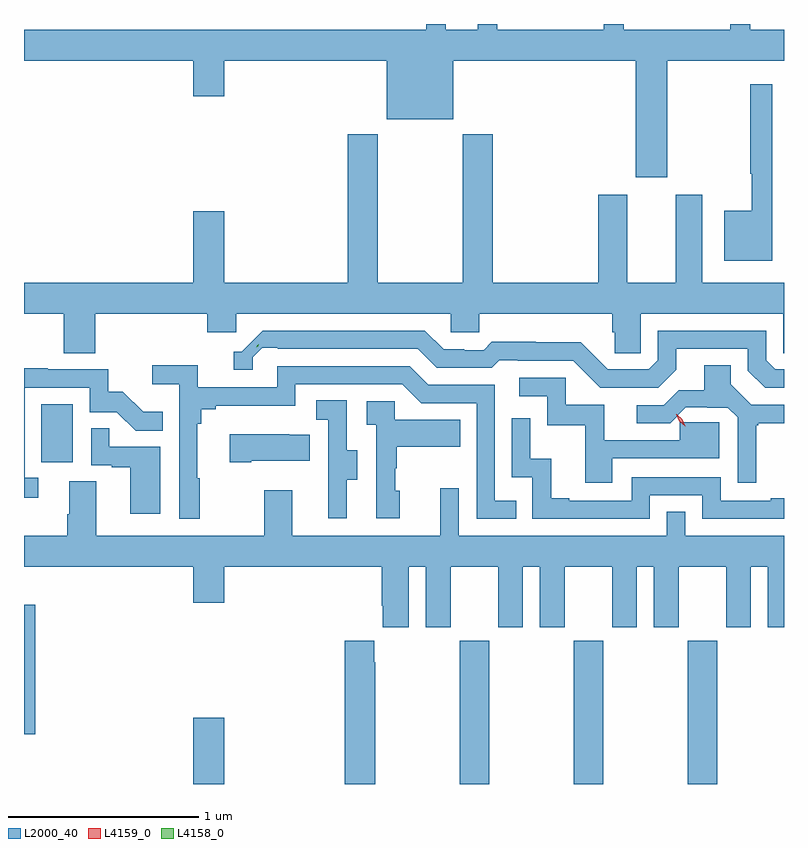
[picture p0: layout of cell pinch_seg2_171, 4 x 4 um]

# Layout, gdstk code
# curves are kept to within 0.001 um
import gdstk
lib = gdstk.Library(unit=1e-6, precision=1e-09)
def R(c, l, rs):  # rectangles x0, y0, x1, y1
    for r in rs: c.add(gdstk.rectangle(r[:2], r[2:], *l))
def A(c, l, x, y, w, h, nx, ny, dx, dy):  # array of equal rectangles
    R(c, l, [(x+i*dx, y+j*dy, x+i*dx+w, y+j*dy+h) for i in range(nx) for j in range(ny)])
def P(c, l, *ps):  # polygons
    for p in ps: c.add(gdstk.Polygon(p, *l))
L2000_40 = (2000, 40)
L4158_0 = (4158, 0)
L4159_0 = (4159, 0)

pinch_seg2_171 = lib.new_cell('pinch_seg2_171')
A(pinch_seg2_171, L2000_40, 1143.433, 642.497, 0.155, 0.755, 3, 1, 0.6, 0)
R(pinch_seg2_171, L2000_40, [(1142.03,642.497,1142.194,642.847), (1141.14,642.76,1141.199,643.441), (1141.232,644.19,1141.396,644.497)])
P(pinch_seg2_171, L2000_40, [(1144.525,646.304),(1145.14,646.304),(1145.14,646.468),(1144.963,646.468),(1144.963,646.497),(1144.857,646.497),(1144.857,646.468),(1144.297,646.468),(1144.297,646.497),(1144.191,646.497),(1144.191,646.468),(1143.631,646.468),(1143.631,646.497),(1143.527,646.497),(1143.527,646.468),(1143.361,646.468),(1143.361,646.497),(1143.257,646.497),(1143.257,646.468),(1141.14,646.468),(1141.14,646.304),(1142.03,646.304),(1142.03,646.116),(1142.194,646.116),(1142.194,646.304),(1143.05,646.304),(1143.05,645.995),(1143.4,645.995),(1143.4,646.304),(1144.361,646.304),(1144.361,645.69),(1144.525,645.69)],
  [(1145.077,646.18),(1144.963,646.18),(1144.963,645.71),(1144.971,645.71),(1144.971,645.514),(1144.826,645.514),(1144.826,645.251),(1145.077,645.251)],
  [(1141.514,644.972),(1142.105,644.972),(1142.105,644.874),(1142.256,644.874),(1142.256,644.972),(1143.387,644.972),(1143.387,644.874),(1143.537,644.874),(1143.537,644.972),(1144.235,644.972),(1144.235,644.874),(1144.249,644.874),(1144.249,644.764),(1144.386,644.764),(1144.386,644.972),(1145.136,644.972),(1145.136,644.764),(1145.14,644.764),(1145.14,645.136),(1144.711,645.136),(1144.711,645.598),(1144.571,645.598),(1144.571,645.136),(1144.315,645.136),(1144.315,645.598),(1144.163,645.598),(1144.163,645.136),(1143.608,645.136),(1143.608,645.916),(1143.448,645.916),(1143.448,645.136),(1143.003,645.136),(1143.003,645.916),(1142.843,645.916),(1142.843,645.136),(1142.194,645.136),(1142.194,645.511),(1142.03,645.511),(1142.03,645.136),(1141.14,645.136),(1141.14,644.972),(1141.349,644.972),(1141.349,644.764),(1141.514,644.764)],
  [(1144.573,644.677),(1144.573,644.787),(1144.95,644.787),(1144.95,644.673),(1145.04,644.583),(1145.14,644.583),(1145.14,644.679),(1145.094,644.679),(1145.046,644.727),(1145.046,644.883),(1144.476,644.883),(1144.476,644.727),(1144.428,644.679),(1144.212,644.679),(1144.07,644.821),(1143.834,644.821),(1143.834,644.824),(1143.601,644.824),(1143.559,644.781),(1143.456,644.781),(1143.456,644.784),(1143.349,644.784),(1143.25,644.883),(1142.397,644.883),(1142.286,644.772),(1142.243,644.772),(1142.243,644.676),(1142.345,644.676),(1142.345,644.743),(1142.395,644.793),(1142.476,644.793),(1142.476,644.787),(1143.213,644.787),(1143.312,644.688),(1143.601,644.688),(1143.64,644.727),(1143.739,644.727),(1143.739,644.724),(1144.032,644.724),(1144.173,644.583),(1144.479,644.583)],
  [(1144.993,644.385),(1145.005,644.385),(1145.005,644.396),(1145.14,644.396),(1145.14,644.493),(1144.968,644.493),(1144.861,644.6),(1144.861,644.702),(1144.721,644.702),(1144.721,644.57),(1144.586,644.57),(1144.506,644.49),(1144.365,644.49),(1144.365,644.397),(1144.54,644.397),(1144.622,644.479),(1144.845,644.478),(1144.896,644.427),(1144.896,644.082),(1144.993,644.082)],
  [(1142.065,644.105),(1142.053,644.105),(1142.053,644.393),(1142.072,644.393),(1142.072,644.47),(1142.149,644.47),(1142.149,644.489),(1142.568,644.489),(1142.568,644.601),(1143.132,644.601),(1143.231,644.502),(1143.522,644.502),(1143.522,643.893),(1143.731,643.893),(1143.731,643.989),(1143.618,643.989),(1143.618,644.598),(1143.268,644.598),(1143.169,644.697),(1142.472,644.697),(1142.472,644.586),(1142.054,644.586),(1142.054,644.702),(1141.815,644.702),(1141.815,644.6),(1141.956,644.6),(1141.956,643.893),(1142.065,643.893)],
  [(1141.216,644.109),(1141.143,644.109),(1141.143,644.583),(1141.485,644.583),(1141.485,644.454),(1141.629,644.454),(1141.727,644.356),(1141.871,644.356),(1141.871,644.455),(1141.767,644.455),(1141.66,644.562),(1141.584,644.562),(1141.584,644.679),(1141.265,644.679),(1141.265,644.684),(1141.14,644.684),(1141.14,644.004),(1141.216,644.004)],
  [(1144.237,644.211),(1144.798,644.211),(1144.798,644.401),(1144.591,644.401),(1144.591,644.307),(1144.195,644.307),(1144.195,644.493),(1143.99,644.493),(1143.99,644.634),(1143.747,644.634),(1143.747,644.538),(1143.894,644.538),(1143.894,644.385),(1144.093,644.385),(1144.093,644.082),(1144.237,644.082)],
  [(1142.839,644.098),(1142.893,644.098),(1142.893,644.253),(1142.838,644.253),(1142.838,644.516),(1142.679,644.516),(1142.679,644.413),(1142.742,644.413),(1142.742,644.109),(1142.741,644.109),(1142.741,643.896),(1142.839,643.896)],
  [(1143.118,644.04),(1143.093,644.04),(1143.093,644.159),(1143.103,644.159),(1143.103,644.273),(1143.437,644.273),(1143.437,644.413),(1143.09,644.413),(1143.09,644.511),(1142.943,644.511),(1142.943,644.387),(1142.994,644.387),(1142.994,643.896),(1143.118,643.896)],
  [(1144.434,644.016),(1144.71,644.016),(1144.71,643.893),(1145.14,643.893),(1145.14,644.002),(1145.069,644.002),(1145.069,643.989),(1144.806,643.989),(1144.806,644.112),(1144.338,644.112),(1144.338,643.989),(1144.009,643.989),(1144.009,644.002),(1143.914,644.002),(1143.914,644.21),(1143.804,644.21),(1143.804,644.422),(1143.708,644.422),(1143.708,644.112),(1143.816,644.112),(1143.816,643.893),(1144.434,643.893)],
  [(1141.858,644.271),(1141.589,644.271),(1141.589,644.369),(1141.494,644.369),(1141.494,644.175),(1141.601,644.175),(1141.601,644.163),(1141.7,644.163),(1141.7,643.92),(1141.858,643.92)],
  [(1142.335,644.198),(1142.645,644.198),(1142.645,644.335),(1142.537,644.335),(1142.537,644.338),(1142.223,644.338),(1142.223,644.191),(1142.335,644.191)],
  [(1143.166,643.64),(1143.254,643.64),(1143.254,643.323),(1143.385,643.323),(1143.385,643.64),(1143.635,643.64),(1143.635,643.323),(1143.766,643.323),(1143.766,643.64),(1143.854,643.64),(1143.854,643.323),(1143.985,643.323),(1143.985,643.64),(1144.235,643.64),(1144.235,643.323),(1144.366,643.323),(1144.366,643.64),(1144.454,643.64),(1144.454,643.323),(1144.585,643.323),(1144.585,643.64),(1144.835,643.64),(1144.835,643.323),(1144.966,643.323),(1144.966,643.64),(1145.054,643.64),(1145.054,643.323),(1145.14,643.323),(1145.14,643.804),(1144.62,643.804),(1144.62,643.931),(1144.524,643.931),(1144.524,643.804),(1143.429,643.804),(1143.429,644.053),(1143.332,644.053),(1143.332,643.804),(1142.551,643.804),(1142.551,644.044),(1142.404,644.044),(1142.404,643.804),(1141.519,643.804),(1141.519,644.09),(1141.379,644.09),(1141.379,643.916),(1141.367,643.916),(1141.367,643.804),(1141.14,643.804),(1141.14,643.64),(1142.03,643.64),(1142.03,643.452),(1142.194,643.452),(1142.194,643.64),(1143.023,643.64),(1143.023,643.435),(1143.029,643.435),(1143.029,643.323),(1143.166,643.323)],
  [(1142.988,643.139),(1142.983,643.139),(1142.983,643.252),(1142.828,643.252),(1142.828,642.497),(1142.988,642.497)])
P(pinch_seg2_171, L4158_0, [(1142.362,644.796),(1142.367,644.806),(1142.367,644.806),(1142.367,644.806),(1142.376,644.811),(1142.372,644.801),(1142.372,644.801),(1142.372,644.801)])
P(pinch_seg2_171, L4159_0, [(1144.62,644.379),(1144.589,644.405),(1144.574,644.443),(1144.574,644.443),(1144.575,644.443),(1144.605,644.417),(1144.62,644.379),(1144.62,644.379)])

lib.write_gds('pinch_seg2_171.gds')
